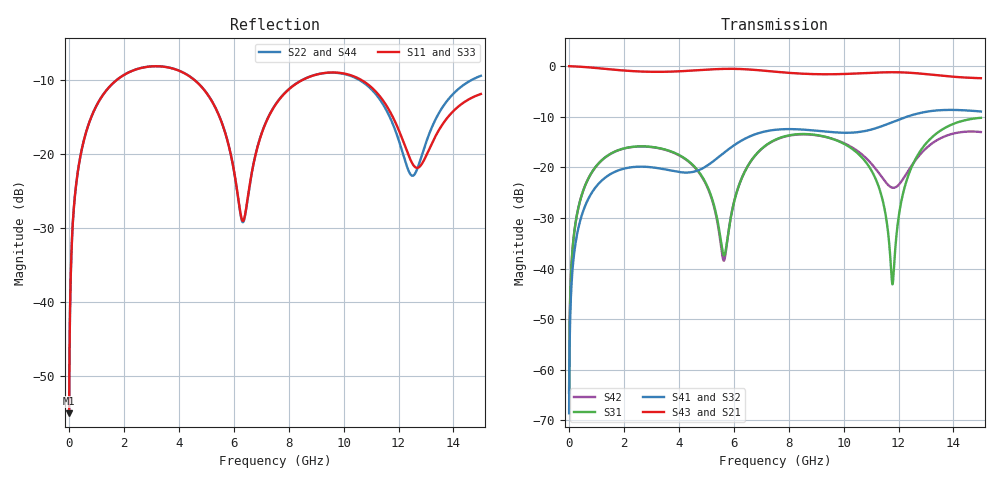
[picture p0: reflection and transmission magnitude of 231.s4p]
! Created with skrf 1.8.0 (http://scikit-rf.org).
# GHz S RI R 50.0
!freq ReS11 ImS11 ReS12 ImS12 ReS13 ImS13
! ReS14 ImS14
! ReS21 ImS21 ReS22 ImS22 ReS23 ImS23
! ReS24 ImS24
! ReS31 ImS31 ReS32 ImS32 ReS33 ImS33
! ReS34 ImS34
! ReS41 ImS41 ReS42 ImS42 ReS43 ImS43
! ReS44 ImS44
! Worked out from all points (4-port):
!   2499 points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, 5 MHz to 15 GHz, reference 50 ohm
!   strongest paths, dB at 5 MHz, 3.476 GHz, 7.19 GHz, 11.1 GHz, 15 GHz:
!     S43: 0.0, -1.1, -0.9, -1.3, -2.4
!     S21: 0.0, -1.1, -0.9, -1.3, -2.4
!     S41: -68.6, -20.4, -12.9, -12.4, -9.0
!     S32: -68.6, -20.4, -12.9, -12.4, -9.0
!     S31: -64.5, -16.4, -15.6, -21.5, -10.2
!     S42: -64.5, -16.5, -15.6, -19.8, -13.0
!   lowest |S11| = -55.0 dB at 5 MHz (marker M1), VSWR 1.00, Z = 50.1 + j0.108 ohm
!   |S11| at or under -10 dB: start of sweep to 1.737 GHz; 4.57 GHz to 8.5 GHz (3.93 GHz wide, 60.1 % of centre); 10.65 GHz to end of sweep
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0.005  0.00142 0.00108  0.9986 -0.00277  7.16e-05 0.00059  -6.94e-05 -0.000365
       0.9986 -0.00277  0.00142 0.00108  -6.94e-05 -0.000365  7.16e-05 0.00059
       7.16e-05 0.00059  -6.94e-05 -0.000365  0.00142 0.00108  0.9986 -0.00277
       -6.94e-05 -0.000365  7.16e-05 0.00059  0.9986 -0.00277  0.00142 0.00108
0.3126303  0.0189 0.0716  0.9743 -0.173  0.00885 0.0355  -0.00731 -0.0219
           0.9743 -0.173  0.0189 0.0716  -0.00731 -0.0219  0.00878 0.0355
           0.00885 0.0355  -0.00731 -0.0219  0.0189 0.0716  0.9743 -0.173
           -0.00731 -0.0219  0.00878 0.0355  0.9743 -0.173  0.0189 0.0716
1.569404  0.2292 0.1885  0.6314 -0.6762  0.1174 0.074  -0.0853 -0.0196
          0.6314 -0.6762  0.2295 0.1883  -0.0853 -0.0196  0.1164 0.0751
          0.1174 0.074  -0.0853 -0.0196  0.2292 0.1884  0.6314 -0.6762
          -0.0853 -0.0196  0.1164 0.0751  0.6314 -0.6762  0.2294 0.1883
6.296373  0.0348 -0.00994  -0.9316 -0.0728  0.00115 0.0786  -0.00995 0.1844
          -0.9316 -0.0728  0.0341 -0.00996  -0.0103 0.1844  0.00075 0.0789
          0.00115 0.0786  -0.0103 0.1844  0.0344 -0.00751  -0.9317 -0.0725
          -0.00995 0.1844  0.00075 0.0789  -0.9317 -0.0725  0.0341 -0.00756
10.19175  0.3322 -0.0881  0.1439 0.8265  0.13 -0.0937  0.1973 -0.0965
          0.1439 0.8265  0.3279 -0.091  0.1976 -0.096  0.124 -0.1074
          0.13 -0.0937  0.1976 -0.096  0.3327 -0.0863  0.1418 0.8269
          0.1973 -0.0965  0.124 -0.1074  0.1418 0.8269  0.3279 -0.0909
11.77991  0.1272 -0.1273  0.7116 0.4999  -0.00686 -0.00128  0.1547 -0.2331
          0.7116 0.4999  0.1142 -0.1146  0.1553 -0.2328  -0.0563 -0.0282
          -0.00686 -0.00128  0.1553 -0.2328  0.1285 -0.1255  0.7099 0.5028
          0.1547 -0.2331  -0.0563 -0.0282  0.7099 0.5028  0.1131 -0.1145
15  0.2492 0.0519  0.4489 -0.6116  0.3054 -0.0431  -0.3317 -0.1303
    0.4489 -0.6116  0.3315 0.0646  -0.3308 -0.1312  0.2033 0.0922
    0.3054 -0.0431  -0.3308 -0.1312  0.2468 0.0531  0.4549 -0.6087
    -0.3317 -0.1303  0.2033 0.0922  0.4549 -0.6087  0.3282 0.0656
